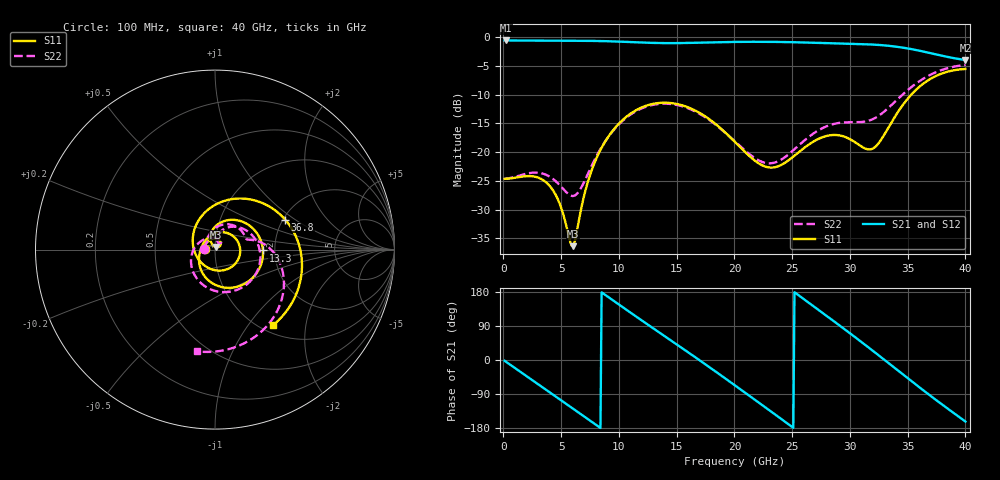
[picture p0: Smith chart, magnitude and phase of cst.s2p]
! C_s8_offset: L1→L8, antipad Ø0.9 offset 0.1 mm from the via
! stackup: 8-layer 1.6 mm FR-4 (generic)
! ports: 1, 2
! CST Studio Suite 2025.5 Release from 2025-05-30, time domain (FIT, hexahedral, PBA), 156600 mesh cells, 35 s
! mesh: {'lpw': 20, 'lpb': 20, 'minstep': 0.0, 'ratio': 20}; ports: port 1 (face); port 2 (face)
! interpolated from CST's 1001 samples to the case grid
# Hz S RI R 50
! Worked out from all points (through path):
!   400 points, 100 MHz to 40 GHz, reference 50 ohm
!   highest |S21| = -0.53 dB at 200 MHz (marker M1); lowest = -3.9 dB at 40 GHz (marker M2)
!   group delay of S21, straight-line fit = 61.1 ps
!   lowest |S11| = -36.4 dB at 6 GHz (marker M3), VSWR 1.03, Z = 50.3 + j1.48 ohm
!   |S11| at or under -10 dB: start of sweep to 35.3 GHz
!   |S22| runs from -27.6 to -4.8 dB; largest |S21 - S12| = 0.0012
!   S11 on the Smith chart (normalised r, x): 100 MHz: 0.89, +0.01; 13.3 GHz: 1.73, -0.02; 36.8 GHz: 2.05, +0.84; 40 GHz: 1.12, -1.32
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1e8  -0.0584 0.00403  0.9406 -0.0351  0.9405 -0.0351  -0.0586 0.00409
2e8  -0.058 0.00805  0.9387 -0.0702  0.9386 -0.0702  -0.0582 0.00816
3.3e9  0.0217 0.054  0.3148 -0.8825  0.3149 -0.8826  0.0199 0.0623
6e9  0.00354 0.0147  -0.5737 -0.7386  -0.5738 -0.7385  0.0214 0.0355
6.8e9  -0.0166 0.0305  -0.7654 -0.5365  -0.7653 -0.5363  0.0125 0.0489
9.6e9  0.0403 0.1549  -0.8353 0.3924  -0.8354 0.3922  0.0941 0.1274
1.15e10  0.1882 0.1368  -0.3747 0.8256  -0.3748 0.8257  0.2184 0.0663
1.33e10  0.2672 -0.00487  0.2059 0.8704  0.206 0.8704  0.2455 -0.0921
1.34e10  0.2676 -0.0144  0.2373 0.862  0.2374 0.862  0.2426 -0.1014
1.69e10  0.0646 -0.2127  0.8997 0.0174  0.8997 0.0176  -0.0377 -0.2152
1.84e10  -0.0373 -0.1707  0.7772 -0.4692  0.7774 -0.4692  -0.1228 -0.1214
2.01e10  -0.0864 -0.085  0.3402 -0.8486  0.3402 -0.8488  -0.1221 -0.00666
2.19e10  -0.0822 -0.00711  -0.2797 -0.8727  -0.2798 -0.8726  -0.0696 0.0523
2.39e10  -0.0452 0.0612  -0.8075 -0.4267  -0.8073 -0.4266  -0.0354 0.0766
2.67e10  0.0872 0.0843  -0.7396 0.5127  -0.74 0.5127  0.0359 0.1375
2.83e10  0.1405 -0.00172  -0.2944 0.8407  -0.2943 0.841  0.1125 0.1309
2.98e10  0.0889 -0.0988  0.2253 0.8537  0.2257 0.8535  0.159 0.089
3.18e10  -0.0841 -0.0643  0.762 0.4174  0.7615 0.4172  0.1823 0.0558
3.34e10  -0.1088 0.1281  0.8332 -0.1383  0.8332 -0.1377  0.2424 0.0457
3.52e10  0.1194 0.2841  0.4826 -0.6324  0.4831 -0.6328  0.3555 -0.0608
3.68e10  0.3904 0.1677  -0.00506 -0.7367  -0.00574 -0.7372  0.3719 -0.2765
4e10  0.3214 -0.4228  -0.606 -0.1926  -0.6048 -0.1926  -0.1003 -0.5671
